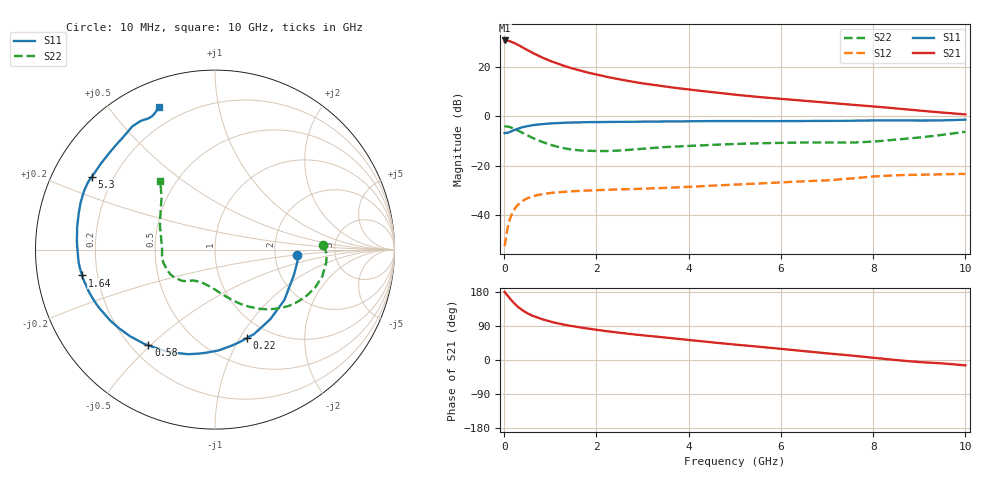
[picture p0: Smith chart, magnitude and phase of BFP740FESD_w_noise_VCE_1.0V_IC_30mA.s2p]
! Infineon Technologies  Discrete & RF Semiconductors
! BFP740FESD
! VCE =  1.0 V,  IC =  30 mA
! Common Emitter S-Parameters:  Jan 2016
# GHz  S  MA  R  50
!  f  S11  S21  S12  S22
! GHz  MAG  ANG  MAG  ANG  MAG  ANG  MAG  ANG
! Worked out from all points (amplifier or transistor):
!   233 points, 10 MHz to 10 GHz, reference 50 ohm
!   highest |S21| = 30.6 dB at 20 MHz (marker M1)
!   |S21| within 3 dB of that: start of sweep to 419 MHz
!   unconditionally stable (mu >= 1): start of sweep to 119 MHz; 2.415 GHz to end of sweep
!   at 200 MHz: K = 0.69, MSG = 34.0 dB, |S12| = -38.2 dB
!   at 1.74 GHz: K = 0.80, MSG = 24.0 dB, |S12| = -30.0 dB
!   at 10 GHz: K = 1.66, MAG = 7.2 dB, |S12| = -23.2 dB
!   lowest NFmin = 0.98 dB at 450 MHz
!   S11 on the Smith chart (normalised r, x): 10 MHz: 2.67, -0.20; 220 MHz: 0.79, -1.07; 580 MHz: 0.27, -0.49; 1.64 GHz: 0.14, -0.09; 5.3 GHz: 0.12, +0.27; 10 GHz: 0.12, +0.68
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0.01  0.4572 -3.7  31.92 179.8  0.0024 23.1  0.605 2.4
0.02  0.4643 -7.9  33.72 177.4  0.0027 32.1  0.6226 -2.2
0.05  0.462 -17.9  33.43 173.7  0.0041 53.9  0.6237 -6.8
0.1  0.4778 -36.0  33.14 165.8  0.007 58.6  0.6162 -14.0
0.15  0.4955 -51.6  32.02 158.5  0.0098 60.1  0.5961 -20.9
0.22  0.5241 -70.3  29.99 149.4  0.0132 56.2  0.5593 -29.1
0.3  0.5618 -87.8  27.5 140.2  0.0165 51.9  0.5154 -37.6
0.36  0.5851 -98.3  25.63 134.6  0.0186 48.8  0.481 -42.8
0.46  0.6188 -112.2  22.72 126.5  0.0212 44.3  0.4311 -50.3
0.58  0.6498 -124.8  19.75 118.8  0.0236 39.9  0.3793 -57.7
0.8  0.6914 -140.7  15.6 108.4  0.0266 34.3  0.31 -68.8
1  0.7157 -150.7  13.04 101.3  0.0283 30.8  0.2666 -77.4
1.3  0.7399 -160.9  10.38 93.2  0.03 27.5  0.2265 -88.6
1.64  0.7549 -169.0  8.375 86.1  0.0312 25.7  0.2051 -99.8
1.68  0.7559 -169.9  8.189 85.3  0.0313 25.6  0.2034 -101.0
2.4  0.7688 178.4  5.773 73.4  0.0333 24.6  0.2011 -118.6
3.4  0.7834 166.8  4.067 60.4  0.0356 26.5  0.2357 -132.0
5.1  0.7997 151.2  2.661 39.7  0.0423 29.9  0.2783 -147.8
5.3  0.7973 149.5  2.554 37.5  0.0432 30.2  0.2815 -149.8
6.8  0.8005 134.7  1.945 19.9  0.0501 30.8  0.2968 -170.2
8.4  0.8279 120.7  1.463 1.0  0.0639 27.6  0.3316 157.5
10  0.8537 111.3  1.089 -14.1  0.0688 19.6  0.4869 128.8
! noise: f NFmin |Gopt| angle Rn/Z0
0.45  0.98  0.16  -169  0.08
2.4  1.01  0.17  -160  0.09
5.5  1.18  0.22  -171  0.09
10  1.68  0.42  -113  0.22
